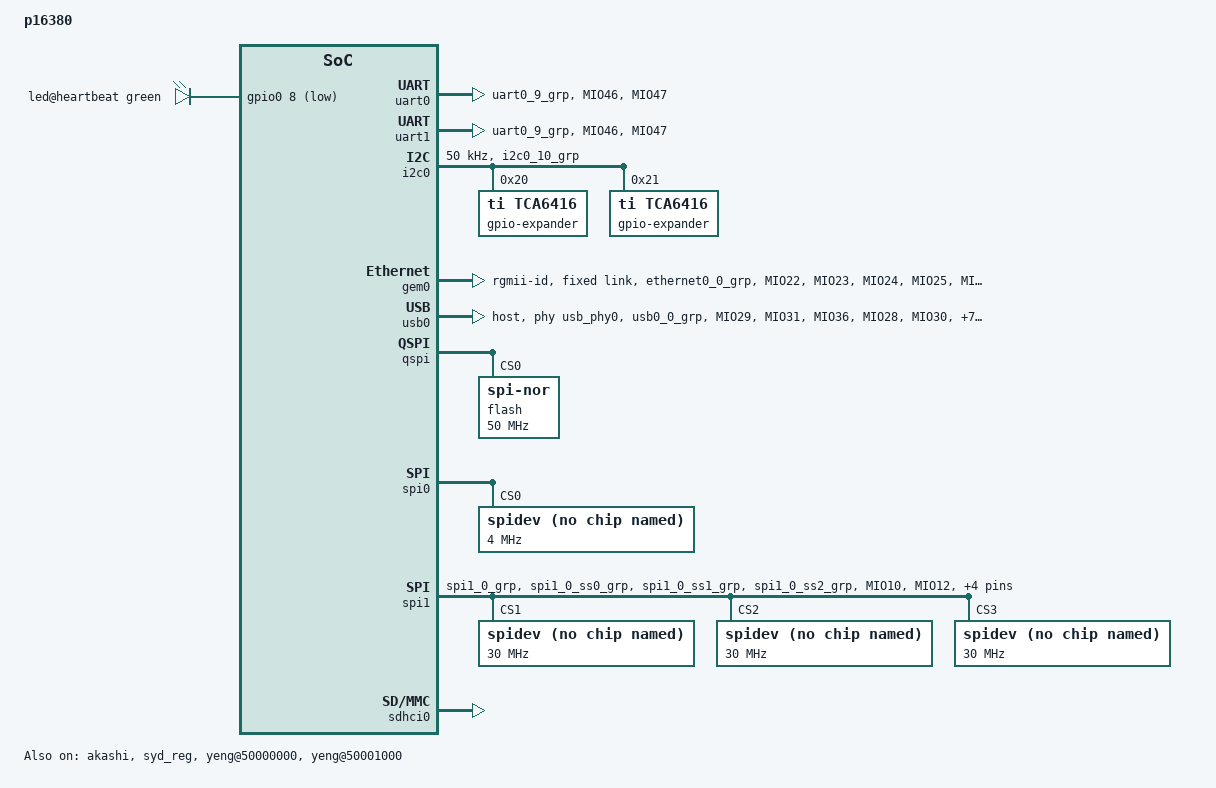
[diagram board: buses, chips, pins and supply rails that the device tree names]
#include <dt-bindings/gpio/gpio.h>
#include <dt-bindings/leds/common.h>
#include <dt-bindings/pinctrl/pinctrl-zynq.h>

#define SLEW_RATE_SLOW 0
#define SLEW_RATE_FAST 1

/ {
    model = "p16380";

    chosen {
        bootargs = "console=ttyPS0,115200 earlyprintk earlycon clk_ignore_unused";
        stdout-path = &uart0;
    };

    aliases {
        ethernet0 = &gem0;
        i2c0 = &i2c0;
        serial0 = &uart0;
        serial1 = &uart1;
        spi0 = &qspi;
        spi1 = &spi0;
        spi2 = &spi1;
        mmc0 = &sdhci0;
        usb0 = &usb0;
    };

    leds {
        compatible = "gpio-leds";

        led@heartbeat {
            gpios = <&gpio0 8 GPIO_ACTIVE_LOW>;
            function = LED_FUNCTION_STATUS;
            color = <LED_COLOR_ID_GREEN>;
            linux,default-trigger = "heartbeat";
        };
    };

    usb_phy0: phy0@e0002000 {
        compatible = "ulpi-phy";
        #phy-cells = <0>;
        reg = <0xe0002000 0x1000>;
        view-port = <0x0170>;
        drv-vbus;
    };
};

&gpio0 {
    pinctrl-names = "default";
    pinctrl-0 = <&pinctrl_gpio0_default>;
};

&clkc {
    ps-clk-frequency = <33333333>;
};

&uart0 {
    u-boot,dm-pre-reloc;
    status = "okay";
    pinctrl-names = "default";
    pinctrl-0 = <&pinctrl_uart0_default>;
};


&uart1 {
    status = "okay";
    pinctrl-names = "default";
    pinctrl-0 = <&pinctrl_uart0_default>;
};

&i2c0 {
    status = "okay";
    clock-frequency = <50000>;
    pinctrl-names = "default";
    pinctrl-0 = <&pinctrl_i2c0_default>;

    gpio-expander@20 {
        compatible = "ti,tca6416";
        reg = <0x20>;
        gpio-controller;
        #gpio-cells = <2>;
        gpio-line-names =
            "sharc1_reset_n",
            "sharc2_reset_n",
            "sharc3_reset_n",
            "sharc4_reset_n",
            "sharc5_reset_n",
            "fpga_spi_sel",
            "fpga_spi_en0",
            "fpga_spi_en1",
            "fpga_spi_en2",
            "fpga2_flash_access",
            "fpga3_flash_access",
            "p16322_flash_access",
            "dmi1_reset_n",
            "dmi1_fault",
            "dmi2_reset_n",
            "dmi2_fault";
    };
    gpio-expander@21 {
        compatible = "ti,tca6416";
        reg = <0x21>;
        gpio-controller;
        #gpio-cells = <2>;
        gpio-line-names =
            "fpga2_prog_b_n",
            "fpga3_prog_b_n",
            "fpga4_prog_b_n",
            "fpga5_prog_b_n",
            "fpga2_init_b_n",
            "fpga3_init_b_n",
            "fpga4_init_b_n",
            "fpga5_init_b_n",
            "fpga2_done",
            "fpga3_done",
            "fpga4_done",
            "fpga5_done",
            "ub_id0",
            "ub_id1",
            "ub_id2";
	};
};

// see pinctrl-zynq.c in linux-xlnx for groups
&pinctrl0 {
    pinctrl_gem0_default: gem0-default {
        mux {
            function = "ethernet0";
            groups = "ethernet0_0_grp";
        };

        conf {
            groups = "ethernet0_0_grp";
            slew-rate = <SLEW_RATE_SLOW>;
            power-source = <IO_STANDARD_LVCMOS18>;
        };

        conf-rx {
            pins =
                "MIO22",
                "MIO23",
                "MIO24",
                "MIO25",
                "MIO26",
                "MIO27";
            bias-high-impedance;
            low-power-disable;
        };

        conf-tx {
            pins =
                "MIO16",
                "MIO17",
                "MIO18",
                "MIO19",
                "MIO20",
                "MIO21";
            bias-disable;
            low-power-enable;
        };

        mux-mdio {
            function = "mdio0";
            groups = "mdio0_0_grp";
        };

        conf-mdio {
            groups = "mdio0_0_grp";
            slew-rate = <SLEW_RATE_SLOW>;
            power-source = <IO_STANDARD_LVCMOS18>;
            bias-disable;
        };
    };

    pinctrl_i2c0_default: i2c0-default {
        mux {
            groups = "i2c0_10_grp";
            function = "i2c0";
        };

        conf {
            groups = "i2c0_10_grp";
            bias-pull-up;
            slew-rate = <SLEW_RATE_SLOW>;
            power-source = <IO_STANDARD_LVCMOS18>;
        };
    };

    pinctrl_usb0_default: usb0-default {
        mux {
            groups = "usb0_0_grp";
            function = "usb0";
        };

        conf {
            groups = "usb0_0_grp";
            slew-rate = <SLEW_RATE_SLOW>;
            power-source = <IO_STANDARD_LVCMOS18>;
        };

        conf-rx {
            pins =
                "MIO29",
                "MIO31",
                "MIO36";
            bias-high-impedance;
        };

        conf-tx {
            pins =
                "MIO28",
                "MIO30",
                "MIO32",
                "MIO33",
                "MIO34",
                "MIO35",
                "MIO37",
                "MIO38",
                "MIO39";
            bias-disable;
        };
    };

    pinctrl_uart0_default: uart0-default {
        mux {
            groups = "uart0_9_grp";
            function = "uart0";
        };

        conf {
            groups = "uart0_9_grp";
            slew-rate = <SLEW_RATE_SLOW>;
            power-source = <IO_STANDARD_LVCMOS18>;
        };

        conf-rx {
            pins = "MIO46";
            bias-high-impedance;
        };

        conf-tx {
            pins = "MIO47";
            bias-disable;
        };
    };

    pinctrl_uart1_default: uart1-default {
        mux {
            groups = "uart1_10_grp";
            function = "uart1";
        };

        conf {
            groups = "uart1_10_grp";
            slew-rate = <SLEW_RATE_SLOW>;
            power-source = <IO_STANDARD_LVCMOS18>;
        };

        conf-rx {
            pins = "MIO48";
            bias-high-impedance;
        };

        conf-tx {
            pins = "MIO49";
            bias-disable;
        };
    };

    pinctrl_gpio0_default: gpio0-default {
        mux {
            function = "gpio0";
            groups =
                "gpio0_0_grp",
                "gpio0_7_grp",
                "gpio0_8_grp";
        };

        conf-3v3 {
            groups =
                "gpio0_0_grp",
                "gpio0_7_grp",
                "gpio0_8_grp";
            slew-rate = <SLEW_RATE_SLOW>;
            power-source = <IO_STANDARD_LVCMOS33>;
        };

        conf-pull-up {
            pins =
                "MIO7", // ENET_RESET_N
                "MIO8"; // HEART_BEAT
            bias-pull-up;
        };

        conf-safeboot-button {
            pins = "MIO0";
            bias-high-impedance; // already pulled up on PCB
        };
    };

    pinctrl_spi1_default: spi1-default {
        mux {
            function = "spi1";
            groups = "spi1_0_grp";
        };
        mux-ss {
            function = "spi1_ss";
            groups =
                "spi1_0_ss0_grp",
                "spi1_0_ss1_grp",
                "spi1_0_ss2_grp";
        };
        conf {
            groups =
                "spi1_0_grp",
                "spi1_0_ss0_grp",
                "spi1_0_ss1_grp",
                "spi1_0_ss2_grp";
            slew-rate = <SLEW_RATE_SLOW>;
            power-soruce = <IO_STANDARD_LVCMOS18>;
        };
        conf-tx {
            pins =
                "MIO10",
                "MIO12",
                "MIO13",
                "MIO14",
                "MIO15";
            bias-disable;
        };
        conf-rx {
            pins = "MIO11";
            bias-high-impedance;
        };
    };
};

&i2c1 {
    status = "false";
};

&gem0 {
    status = "okay";
    pinctrl-names = "default";
    pinctrl-0 = <&pinctrl_gem0_default>;

    phy-mode = "rgmii-id";
    fixed-link {
        speed = <1000>;
        full-duplex;
    };

//     phy-handle = <&switchphy>;
//     phy-mode = "rgmii-id";
// 
//    mdio {
//        #address-cells = <1>;
//        #size-cells = <0>;
//        switch0: switch0@0 {
//            compatible = "marvell,mv88e6085";
//			reg = <8>;
//            dsa,member = <0 0>;
//            // reset-gpios = <&gpio0 7 GPIO_ACTIVE_LOW>;
//
//            ports {
//                #address-cells = <1>;
//                #size-cells = <0>;
//                port@2 {
//                    reg = <2>;
//                    label = "dmi2";
//                };
//
//                port@3 {
//                    reg = <3>;
//                    label = "dmi1";
//                };
//
//                port@4 {
//                    reg = <4>;
//                    label = "external";
//                };
//
//                switchphy: port@5 {
//                    reg = <5>;
//                    label = "cpu";
//                    ethernet = <&gem0>;
//                    phy-mode = "rgmii-id";
//                    fixed-link {
//                        speed = <1000>;
//                        full-duplex;
//                    };
//                };
//            };
//        };
//    };
};

&usb0 {
    status = "okay";
    dr_mode = "host";
    usb-phy = <&usb_phy0>;
    pinctrl-names = "default";
    pinctrl-0 = <&pinctrl_usb0_default>;
};

&qspi {
    u-boot,dm-pre-reloc;
    status = "okay";
    is-dual = <0>;
    num-cs = <1>;

    flash@0 {
        compatible = "jedec,spi-nor";
        reg = <0x0>;
        spi-tx-bus-width = <1>;
        spi-rx-bus-width = <4>;
        spi-max-frequency = <50000000>;
        #address-cells = <1>;
        #size-cells = <1>;

        // Quick generation of contiguous MiB-aligned flash partitions:
        // #!/usr/bin/bash
        // addr=0
        // while IFS=" " read -r name mib; do
        //     echo "partition@${name} {"
        //     echo "    label = \"${name}\";"
        //     siz=$(( mib * 0x100000 ))
        //     printf "    reg = <0x%x 0x%x>;\n" "${addr}" "${siz}"
        //     addr=$(( "${addr}" + "${siz}" ))
        //     echo "};"
        // done << EOF
        // mainboot 8
        // mainfit 16
        // goldenboot 8
        // goldenfit 16
        // danteipcore 12
        // dantepersist 2
        // readonlyprops 2
        // EOF

        /*
        partition@mainboot {
            label = "mainboot";
            reg = <0x0 0x800000>;
        };
        partition@mainfit {
            label = "mainfit";
            reg = <0x800000 0x1000000>;
        };
        partition@goldenboot {
            label = "goldenboot";
            reg = <0x1800000 0x800000>;
        };
        partition@goldenfit {
            label = "goldenfit";
            reg = <0x2000000 0x1000000>;
        };
        partition@danteipcore {
            label = "danteipcore";
            reg = <0x3000000 0xc00000>;
        };
        partition@dantepersist {
            label = "dantepersist";
            reg = <0x3c00000 0x200000>;
        };
        partition@readonlyprops {
            label = "readonlyprops";
            reg = <0x3e00000 0x200000>;
        };
        */

    };
};

// FPGA flash spi
&spi0 {
    status = "okay";
    num-cs = <1>;

    spidev@0{
        compatible = "rohm,dh2228fv"; // fake compat
        reg = <0>;
        spi-max-frequency = <4000000>;
    };

    //fpga23_flash: flash@0 {
    //    #address-cells = <1>;
    //    #size-cells = <1>;
    //    status = "ok";
    //    compatible = "n25q128a13", "jedjedec,spi-nor";
    //    spi-max-frequency = <1000000>;
    //    reg = <0>;
    //};
};

// SHARC boot spi
&spi1 {
    status = "okay";
    num-cs = <8>;
    is-decoded-cs = <1>;

    pinctrl-names = "default";
    pinctrl-0 = <&pinctrl_spi1_default>;

    spidev@0{
        compatible = "rohm,dh2228fv"; // fake compat
        reg = <1>;
        spi-max-frequency = <30000000>;
    };
    spidev@1{
        compatible = "rohm,dh2228fv";
        reg = <2>;
        spi-max-frequency = <30000000>;
    };
    spidev@2{
        compatible = "rohm,dh2228fv";
        reg = <3>;
        spi-max-frequency = <30000000>;
    };
};

// force enable
&sdhci0 {
    status = "okay";
    xlnx,has-cd = <0>;
    xlnx,has-power = <0>;
    xlnx,has-wp = <0>;
};

&amba {
    akashi: akashi@60000000 {
        compatible = "xlnx,akashi";
        status = "ok";
        interrupt-parent = <&intc>;
        interrupts = <0 29 1>, <0 30 1>, <0 31 1>, <0 32 1>, <0 35 1>;
        interrupt-names = "ts", "rx", "tx", "rxerr", "smi";
        reg = <0x60000000 0x40000>;
        #redundancy = <0x00000002 0x00000008 0x00000050 0x02121000>;
        #control-ports = <0x0>;
        #external-phys = <0x0>;
    };
    syd_reg: syd_reg@60000000 {
        compatible = "xlnx,syd_reg";
        status = "ok";
        interrupt-parent = <&intc>;
        interrupts = <0 33 1>, <0 34 1>, <0 52 1>, <0 53 1>, <0 54 1>;
        interrupt-names = "rx_act", "meter", "rx_ka", "daif", "ape";
        reg = <0x60000000 0x40000>;
    };

    yeng@50000000 {
        compatible = "digico,yeng";
        status = "ok";
        reg = <0x50000000 0x1000>;
        interrupt-parent = <&intc>;
        interrupts = <0 88 1>;
    };

    // dummy to test platform dev init
    yeng@50001000 {
        compatible = "digico,yeng";
        status = "ok";
        reg = <0x50001000 0x1000>;
        interrupt-parent = <&intc>;
        interrupts = <0 89 1>;
    };
};

// vim: set ts=4 sts=4 sw=4 et :
